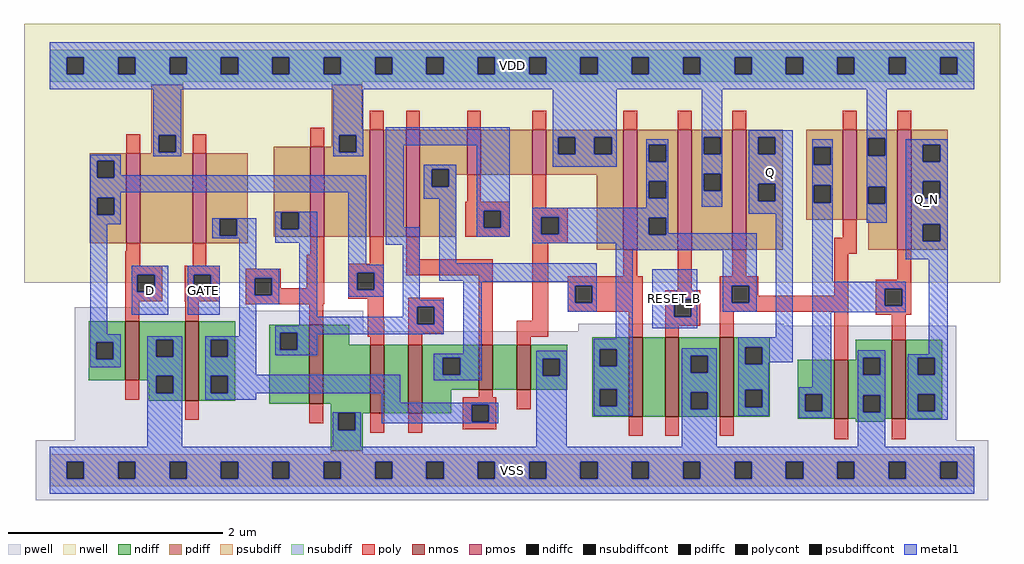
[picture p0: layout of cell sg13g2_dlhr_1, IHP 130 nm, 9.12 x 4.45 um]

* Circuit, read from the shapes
.subckt sg13g2_dlhr_1 Q_N RESET_B GATE VDD Q VSS D
XM1 VSS D n1 VSS sg13_lv_nmos w=0.55u l=0.13u
XM2 n2 GATE VSS VSS sg13_lv_nmos w=0.74u l=0.13u
XM3 VSS n2 n3 VSS sg13_lv_nmos w=0.74u l=0.13u
XM4 n4 n1 VSS VSS sg13_lv_nmos w=0.64u l=0.13u
XM5 n5 n3 n4 VSS sg13_lv_nmos w=0.64u l=0.13u
XM6 n6 n2 n5 VSS sg13_lv_nmos w=0.42u l=0.13u
XM7 VSS n7 n6 VSS sg13_lv_nmos w=0.42u l=0.13u
XM8 n8 n5 n7 VSS sg13_lv_nmos w=0.74u l=0.13u
XM9 VSS RESET_B n8 VSS sg13_lv_nmos w=0.74u l=0.13u
XM10 Q n7 VSS VSS sg13_lv_nmos w=0.74u l=0.13u
XM11 VSS n7 n9 VSS sg13_lv_nmos w=0.55u l=0.13u
XM12 Q_N n9 VSS VSS sg13_lv_nmos w=0.74u l=0.13u
XM13 VDD D n1 VDD sg13_lv_pmos w=0.84u l=0.13u
XM14 n2 GATE VDD VDD sg13_lv_pmos w=0.84u l=0.13u
XM15 VDD n2 n3 VDD sg13_lv_pmos w=0.84u l=0.13u
XM16 n10 n1 VDD VDD sg13_lv_pmos w=1u l=0.13u
XM17 n5 n2 n10 VDD sg13_lv_pmos w=1u l=0.13u
XM18 n11 n3 n5 VDD sg13_lv_pmos w=0.42u l=0.13u
XM19 VDD n7 n11 VDD sg13_lv_pmos w=0.42u l=0.13u
XM20 n7 n5 VDD VDD sg13_lv_pmos w=1.12u l=0.13u
XM21 VDD RESET_B n7 VDD sg13_lv_pmos w=1.12u l=0.13u
XM22 Q n7 VDD VDD sg13_lv_pmos w=1.12u l=0.13u
XM23 VDD n7 n9 VDD sg13_lv_pmos w=0.84u l=0.13u
XM24 Q_N n9 VDD VDD sg13_lv_pmos w=1.12u l=0.13u
.ends

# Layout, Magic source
magic
tech ihp-sg13g2
magscale 1 2
<< nwell >>
rect -48 350 1776 834
<< pwell >>
rect 47 298 373 304
rect 47 260 586 298
rect 988 270 1372 274
rect 988 260 1694 270
rect 47 56 1694 260
rect -26 -56 1754 56
<< nmos >>
rect 141 168 167 278
rect 253 130 279 278
rect 485 124 511 272
rect 599 106 625 234
rect 670 106 696 234
rect 802 150 828 234
rect 873 150 899 234
rect 1082 100 1108 248
rect 1150 100 1176 248
rect 1252 100 1278 248
rect 1466 96 1492 206
rect 1574 96 1600 244
<< pmos >>
rect 143 424 169 592
rect 267 424 293 592
rect 487 436 513 604
rect 598 436 624 636
rect 666 436 692 636
rect 780 552 806 636
rect 902 552 928 636
rect 1072 412 1098 636
rect 1174 412 1200 636
rect 1276 412 1302 636
rect 1482 468 1508 636
rect 1584 412 1610 636
<< ndiff >>
rect 73 239 141 278
rect 73 207 87 239
rect 119 207 141 239
rect 73 168 141 207
rect 167 244 253 278
rect 167 212 199 244
rect 231 212 253 244
rect 167 176 253 212
rect 167 168 199 176
rect 185 144 199 168
rect 231 144 253 176
rect 185 130 253 144
rect 279 244 347 278
rect 279 212 301 244
rect 333 212 347 244
rect 279 176 347 212
rect 279 144 301 176
rect 333 144 347 176
rect 279 130 347 144
rect 410 257 485 272
rect 410 225 431 257
rect 463 225 485 257
rect 410 124 485 225
rect 511 234 560 272
rect 511 124 599 234
rect 525 107 599 124
rect 525 75 539 107
rect 571 106 599 107
rect 625 106 670 234
rect 696 210 802 234
rect 696 178 735 210
rect 767 178 802 210
rect 696 150 802 178
rect 828 150 873 234
rect 899 208 967 234
rect 899 176 921 208
rect 953 176 967 208
rect 899 150 967 176
rect 1014 226 1082 248
rect 1014 194 1028 226
rect 1060 194 1082 226
rect 1014 151 1082 194
rect 696 106 750 150
rect 571 75 585 106
rect 525 36 585 75
rect 1014 119 1028 151
rect 1060 119 1082 151
rect 1014 100 1082 119
rect 1108 100 1150 248
rect 1176 214 1252 248
rect 1176 182 1198 214
rect 1230 182 1252 214
rect 1176 146 1252 182
rect 1176 114 1198 146
rect 1230 114 1252 146
rect 1176 100 1252 114
rect 1278 230 1346 248
rect 1278 198 1300 230
rect 1332 198 1346 230
rect 1506 210 1574 244
rect 1506 206 1520 210
rect 1278 150 1346 198
rect 1278 118 1300 150
rect 1332 118 1346 150
rect 1278 100 1346 118
rect 1398 142 1466 206
rect 1398 110 1412 142
rect 1444 110 1466 142
rect 1398 96 1466 110
rect 1492 178 1520 206
rect 1552 178 1574 210
rect 1492 140 1574 178
rect 1492 108 1520 140
rect 1552 108 1574 140
rect 1492 96 1574 108
rect 1600 210 1668 244
rect 1600 178 1622 210
rect 1654 178 1668 210
rect 1600 142 1668 178
rect 1600 110 1622 142
rect 1654 110 1668 142
rect 1600 96 1668 110
rect 1506 90 1560 96
<< pdiff >>
rect 190 626 250 720
rect 190 594 204 626
rect 236 594 250 626
rect 190 592 250 594
rect 527 636 584 720
rect 527 626 598 636
rect 527 604 541 626
rect 75 578 143 592
rect 75 546 89 578
rect 121 546 143 578
rect 75 509 143 546
rect 75 477 89 509
rect 121 477 143 509
rect 75 424 143 477
rect 169 424 267 592
rect 293 470 370 592
rect 293 438 318 470
rect 350 438 370 470
rect 293 424 370 438
rect 419 482 487 604
rect 419 450 433 482
rect 465 450 487 482
rect 419 436 487 450
rect 513 594 541 604
rect 573 594 598 626
rect 513 436 598 594
rect 624 436 666 636
rect 692 562 780 636
rect 692 530 714 562
rect 746 552 780 562
rect 806 552 902 636
rect 928 622 1072 636
rect 928 590 950 622
rect 982 590 1018 622
rect 1050 590 1072 622
rect 928 552 1072 590
rect 746 530 760 552
rect 692 436 760 530
rect 1022 412 1072 552
rect 1098 608 1174 636
rect 1098 576 1120 608
rect 1152 576 1174 608
rect 1098 540 1174 576
rect 1098 508 1120 540
rect 1152 508 1174 540
rect 1098 472 1174 508
rect 1098 440 1120 472
rect 1152 440 1174 472
rect 1098 412 1174 440
rect 1200 622 1276 636
rect 1200 590 1222 622
rect 1254 590 1276 622
rect 1200 554 1276 590
rect 1200 522 1222 554
rect 1254 522 1276 554
rect 1200 412 1276 522
rect 1302 622 1370 636
rect 1302 590 1324 622
rect 1356 590 1370 622
rect 1302 535 1370 590
rect 1302 503 1324 535
rect 1356 503 1370 535
rect 1302 412 1370 503
rect 1414 603 1482 636
rect 1414 571 1428 603
rect 1460 571 1482 603
rect 1414 532 1482 571
rect 1414 500 1428 532
rect 1460 500 1482 532
rect 1414 468 1482 500
rect 1508 620 1584 636
rect 1508 588 1530 620
rect 1562 588 1584 620
rect 1508 530 1584 588
rect 1508 498 1530 530
rect 1562 498 1584 530
rect 1508 468 1584 498
rect 1530 412 1584 468
rect 1610 608 1678 636
rect 1610 576 1632 608
rect 1664 576 1678 608
rect 1610 540 1678 576
rect 1610 508 1632 540
rect 1664 508 1678 540
rect 1610 460 1678 508
rect 1610 428 1632 460
rect 1664 428 1678 460
rect 1610 412 1678 428
<< ndiffc >>
rect 87 207 119 239
rect 199 212 231 244
rect 199 144 231 176
rect 301 212 333 244
rect 301 144 333 176
rect 431 225 463 257
rect 539 75 571 107
rect 735 178 767 210
rect 921 176 953 208
rect 1028 194 1060 226
rect 1028 119 1060 151
rect 1198 182 1230 214
rect 1198 114 1230 146
rect 1300 198 1332 230
rect 1300 118 1332 150
rect 1412 110 1444 142
rect 1520 178 1552 210
rect 1520 108 1552 140
rect 1622 178 1654 210
rect 1622 110 1654 142
<< pdiffc >>
rect 204 594 236 626
rect 89 546 121 578
rect 89 477 121 509
rect 318 438 350 470
rect 433 450 465 482
rect 541 594 573 626
rect 714 530 746 562
rect 950 590 982 622
rect 1018 590 1050 622
rect 1120 576 1152 608
rect 1120 508 1152 540
rect 1120 440 1152 472
rect 1222 590 1254 622
rect 1222 522 1254 554
rect 1324 590 1356 622
rect 1324 503 1356 535
rect 1428 571 1460 603
rect 1428 500 1460 532
rect 1530 588 1562 620
rect 1530 498 1562 530
rect 1632 576 1664 608
rect 1632 508 1664 540
rect 1632 428 1664 460
<< psubdiff >>
rect 525 30 585 36
rect 0 16 1728 30
rect 0 -16 32 16
rect 64 -16 128 16
rect 160 -16 224 16
rect 256 -16 320 16
rect 352 -16 416 16
rect 448 -16 512 16
rect 544 -16 608 16
rect 640 -16 704 16
rect 736 -16 800 16
rect 832 -16 896 16
rect 928 -16 992 16
rect 1024 -16 1088 16
rect 1120 -16 1184 16
rect 1216 -16 1280 16
rect 1312 -16 1376 16
rect 1408 -16 1472 16
rect 1504 -16 1568 16
rect 1600 -16 1664 16
rect 1696 -16 1728 16
rect 0 -30 1728 -16
<< nsubdiff >>
rect 0 772 1728 786
rect 0 740 32 772
rect 64 740 128 772
rect 160 740 224 772
rect 256 740 320 772
rect 352 740 416 772
rect 448 740 512 772
rect 544 740 608 772
rect 640 740 704 772
rect 736 740 800 772
rect 832 740 896 772
rect 928 740 992 772
rect 1024 740 1088 772
rect 1120 740 1184 772
rect 1216 740 1280 772
rect 1312 740 1376 772
rect 1408 740 1472 772
rect 1504 740 1568 772
rect 1600 740 1664 772
rect 1696 740 1728 772
rect 0 726 1728 740
rect 190 720 250 726
rect 527 720 584 726
<< psubdiffcont >>
rect 32 -16 64 16
rect 128 -16 160 16
rect 224 -16 256 16
rect 320 -16 352 16
rect 416 -16 448 16
rect 512 -16 544 16
rect 608 -16 640 16
rect 704 -16 736 16
rect 800 -16 832 16
rect 896 -16 928 16
rect 992 -16 1024 16
rect 1088 -16 1120 16
rect 1184 -16 1216 16
rect 1280 -16 1312 16
rect 1376 -16 1408 16
rect 1472 -16 1504 16
rect 1568 -16 1600 16
rect 1664 -16 1696 16
<< nsubdiffcont >>
rect 32 740 64 772
rect 128 740 160 772
rect 224 740 256 772
rect 320 740 352 772
rect 416 740 448 772
rect 512 740 544 772
rect 608 740 640 772
rect 704 740 736 772
rect 800 740 832 772
rect 896 740 928 772
rect 992 740 1024 772
rect 1088 740 1120 772
rect 1184 740 1216 772
rect 1280 740 1312 772
rect 1376 740 1408 772
rect 1472 740 1504 772
rect 1568 740 1600 772
rect 1664 740 1696 772
<< poly >>
rect 143 592 169 628
rect 267 592 293 628
rect 487 604 513 640
rect 598 636 624 672
rect 666 636 692 672
rect 780 636 806 672
rect 902 636 928 672
rect 1072 636 1098 672
rect 1174 636 1200 672
rect 1276 636 1302 672
rect 1482 636 1508 672
rect 1584 636 1610 672
rect 780 502 806 552
rect 777 485 860 502
rect 777 453 811 485
rect 843 453 860 485
rect 777 436 860 453
rect 902 490 928 552
rect 902 473 968 490
rect 902 441 919 473
rect 951 441 968 473
rect 143 409 169 424
rect 141 382 169 409
rect 267 382 293 424
rect 487 403 513 436
rect 141 365 210 382
rect 141 333 164 365
rect 196 333 210 365
rect 141 316 210 333
rect 252 365 318 382
rect 252 333 269 365
rect 301 333 318 365
rect 252 316 318 333
rect 366 359 432 376
rect 366 327 383 359
rect 415 340 432 359
rect 480 340 513 403
rect 598 386 624 436
rect 415 327 513 340
rect 141 278 167 316
rect 253 278 279 316
rect 366 310 513 327
rect 558 369 624 386
rect 558 337 575 369
rect 607 337 624 369
rect 666 394 692 436
rect 902 424 968 441
rect 666 364 828 394
rect 558 320 624 337
rect 141 132 167 168
rect 485 272 511 310
rect 594 279 624 320
rect 670 305 736 322
rect 253 94 279 130
rect 594 249 625 279
rect 599 234 625 249
rect 670 273 687 305
rect 719 273 736 305
rect 670 256 736 273
rect 670 234 696 256
rect 802 234 828 364
rect 902 279 932 424
rect 1482 434 1508 468
rect 1072 362 1098 412
rect 968 345 1108 362
rect 968 313 982 345
rect 1014 313 1108 345
rect 1174 336 1200 412
rect 1276 362 1302 412
rect 1466 404 1508 434
rect 1252 345 1324 362
rect 968 296 1108 313
rect 873 249 932 279
rect 873 234 899 249
rect 1082 248 1108 296
rect 1150 319 1216 336
rect 1150 287 1167 319
rect 1199 287 1216 319
rect 1150 270 1216 287
rect 1252 313 1275 345
rect 1307 326 1324 345
rect 1466 326 1492 404
rect 1584 356 1610 412
rect 1307 313 1492 326
rect 1252 296 1492 313
rect 1150 248 1176 270
rect 1252 248 1278 296
rect 485 88 511 124
rect 802 136 828 150
rect 772 122 835 136
rect 599 70 625 106
rect 670 70 696 106
rect 772 90 789 122
rect 821 90 835 122
rect 873 114 899 150
rect 1466 206 1492 296
rect 1544 339 1610 356
rect 1544 307 1561 339
rect 1593 307 1610 339
rect 1544 290 1610 307
rect 1574 244 1600 290
rect 772 76 835 90
rect 1082 64 1108 100
rect 1150 64 1176 100
rect 1252 64 1278 100
rect 1466 58 1492 96
rect 1574 58 1600 96
<< polycont >>
rect 811 453 843 485
rect 919 441 951 473
rect 164 333 196 365
rect 269 333 301 365
rect 383 327 415 359
rect 575 337 607 369
rect 687 273 719 305
rect 982 313 1014 345
rect 1167 287 1199 319
rect 1275 313 1307 345
rect 789 90 821 122
rect 1561 307 1593 339
<< metal1 >>
rect 0 772 1728 800
rect 0 740 32 772
rect 64 740 128 772
rect 160 740 224 772
rect 256 740 320 772
rect 352 740 416 772
rect 448 740 512 772
rect 544 740 608 772
rect 640 740 704 772
rect 736 740 800 772
rect 832 740 896 772
rect 928 740 992 772
rect 1024 740 1088 772
rect 1120 740 1184 772
rect 1216 740 1280 772
rect 1312 740 1376 772
rect 1408 740 1472 772
rect 1504 740 1568 772
rect 1600 740 1664 772
rect 1696 740 1728 772
rect 0 712 1728 740
rect 194 626 246 712
rect 194 594 204 626
rect 236 594 246 626
rect 76 578 133 589
rect 194 587 246 594
rect 530 626 586 712
rect 530 594 541 626
rect 573 594 586 626
rect 530 587 586 594
rect 628 607 860 641
rect 76 546 89 578
rect 121 551 133 578
rect 121 546 592 551
rect 76 519 592 546
rect 76 509 133 519
rect 76 477 89 509
rect 121 477 133 509
rect 76 460 133 477
rect 422 482 500 483
rect 304 470 386 471
rect 76 254 108 460
rect 304 438 318 470
rect 350 438 386 470
rect 304 433 386 438
rect 153 365 222 382
rect 153 333 164 365
rect 196 333 222 365
rect 153 290 222 333
rect 258 365 318 382
rect 258 333 269 365
rect 301 333 318 365
rect 258 290 318 333
rect 354 376 386 433
rect 422 450 433 482
rect 465 450 500 482
rect 422 425 500 450
rect 354 359 429 376
rect 354 327 383 359
rect 415 327 429 359
rect 354 310 429 327
rect 76 239 133 254
rect 354 250 386 310
rect 466 287 500 425
rect 558 384 592 519
rect 628 454 662 607
rect 699 562 760 571
rect 699 530 714 562
rect 746 530 760 562
rect 699 507 760 530
rect 628 421 692 454
rect 558 369 624 384
rect 558 337 575 369
rect 607 337 624 369
rect 558 324 624 337
rect 660 318 692 421
rect 728 387 760 507
rect 798 485 860 607
rect 940 622 1060 712
rect 940 590 950 622
rect 982 590 1018 622
rect 1050 590 1060 622
rect 1219 622 1257 712
rect 940 567 1060 590
rect 1115 608 1156 618
rect 1115 576 1120 608
rect 1152 576 1156 608
rect 1115 540 1156 576
rect 1115 508 1120 540
rect 1152 508 1156 540
rect 1115 490 1156 508
rect 1219 590 1222 622
rect 1254 590 1257 622
rect 1219 554 1257 590
rect 1219 522 1222 554
rect 1254 522 1257 554
rect 1219 492 1257 522
rect 1306 622 1389 635
rect 1306 590 1324 622
rect 1356 590 1389 622
rect 1527 620 1564 712
rect 1306 535 1389 590
rect 1306 503 1324 535
rect 1356 503 1389 535
rect 798 453 811 485
rect 843 453 860 485
rect 798 436 860 453
rect 902 473 1156 490
rect 1306 479 1389 503
rect 902 441 919 473
rect 951 472 1156 473
rect 951 441 1120 472
rect 902 440 1120 441
rect 1152 443 1156 472
rect 1152 440 1321 443
rect 902 424 1321 440
rect 1058 411 1321 424
rect 728 354 1022 387
rect 773 352 1022 354
rect 660 305 736 318
rect 660 287 687 305
rect 466 273 687 287
rect 719 273 736 305
rect 466 270 736 273
rect 76 207 87 239
rect 119 207 133 239
rect 76 192 133 207
rect 182 244 248 250
rect 182 212 199 244
rect 231 212 248 244
rect 182 176 248 212
rect 182 144 199 176
rect 231 144 248 176
rect 182 44 248 144
rect 291 244 386 250
rect 291 212 301 244
rect 333 212 386 244
rect 422 257 736 270
rect 422 225 431 257
rect 463 254 736 257
rect 463 225 500 254
rect 422 215 500 225
rect 773 218 807 352
rect 968 345 1022 352
rect 968 313 982 345
rect 1014 313 1022 345
rect 968 296 1022 313
rect 1058 246 1090 411
rect 1126 319 1210 375
rect 1126 287 1167 319
rect 1199 287 1210 319
rect 1258 345 1321 411
rect 1258 313 1275 345
rect 1307 313 1321 345
rect 1258 296 1321 313
rect 1126 265 1210 287
rect 1357 248 1389 479
rect 1017 226 1090 246
rect 1287 230 1389 248
rect 291 178 386 212
rect 718 210 807 218
rect 718 178 735 210
rect 767 178 807 210
rect 291 176 655 178
rect 291 144 301 176
rect 333 144 655 176
rect 718 168 807 178
rect 909 208 966 223
rect 909 176 921 208
rect 953 176 966 208
rect 291 132 386 144
rect 621 126 655 144
rect 621 122 838 126
rect 529 107 581 108
rect 529 75 539 107
rect 571 75 581 107
rect 621 90 789 122
rect 821 90 838 122
rect 621 88 838 90
rect 529 44 581 75
rect 909 44 966 176
rect 1017 194 1028 226
rect 1060 194 1090 226
rect 1017 151 1090 194
rect 1017 119 1028 151
rect 1060 119 1090 151
rect 1017 102 1090 119
rect 1181 214 1247 228
rect 1181 182 1198 214
rect 1230 182 1247 214
rect 1181 146 1247 182
rect 1181 114 1198 146
rect 1230 114 1247 146
rect 1181 44 1247 114
rect 1287 198 1300 230
rect 1332 202 1389 230
rect 1425 603 1463 618
rect 1425 571 1428 603
rect 1460 571 1463 603
rect 1425 532 1463 571
rect 1425 500 1428 532
rect 1460 500 1463 532
rect 1425 352 1463 500
rect 1527 588 1530 620
rect 1562 588 1564 620
rect 1527 530 1564 588
rect 1527 498 1530 530
rect 1562 498 1564 530
rect 1527 462 1564 498
rect 1600 608 1678 618
rect 1600 576 1632 608
rect 1664 576 1678 608
rect 1600 540 1678 576
rect 1600 508 1632 540
rect 1664 508 1678 540
rect 1600 460 1678 508
rect 1600 428 1632 460
rect 1664 428 1678 460
rect 1600 394 1678 428
rect 1425 339 1600 352
rect 1425 307 1561 339
rect 1593 307 1600 339
rect 1425 295 1600 307
rect 1332 198 1344 202
rect 1287 150 1344 198
rect 1425 155 1461 295
rect 1287 118 1300 150
rect 1332 118 1344 150
rect 1287 102 1344 118
rect 1400 142 1461 155
rect 1400 110 1412 142
rect 1444 110 1461 142
rect 1400 98 1461 110
rect 1510 210 1562 224
rect 1643 217 1678 394
rect 1510 178 1520 210
rect 1552 178 1562 210
rect 1510 140 1562 178
rect 1510 108 1520 140
rect 1552 108 1562 140
rect 1510 44 1562 108
rect 1604 210 1678 217
rect 1604 178 1622 210
rect 1654 178 1678 210
rect 1604 142 1678 178
rect 1604 110 1622 142
rect 1654 110 1678 142
rect 1604 94 1678 110
rect 0 16 1728 44
rect 0 -16 32 16
rect 64 -16 128 16
rect 160 -16 224 16
rect 256 -16 320 16
rect 352 -16 416 16
rect 448 -16 512 16
rect 544 -16 608 16
rect 640 -16 704 16
rect 736 -16 800 16
rect 832 -16 896 16
rect 928 -16 992 16
rect 1024 -16 1088 16
rect 1120 -16 1184 16
rect 1216 -16 1280 16
rect 1312 -16 1376 16
rect 1408 -16 1472 16
rect 1504 -16 1568 16
rect 1600 -16 1664 16
rect 1696 -16 1728 16
rect 0 -44 1728 -16
<< labels >>
flabel metal1 s 1600 394 1678 618 0 FreeSans 400 0 0 0 Q_N
port 2 nsew
flabel metal1 s 1126 265 1210 375 0 FreeSans 400 0 0 0 RESET_B
port 3 nsew
flabel metal1 s 258 290 318 382 0 FreeSans 400 0 0 0 GATE
port 4 nsew
flabel metal1 s 0 712 1728 800 0 FreeSans 400 0 0 0 VDD
port 5 nsew
flabel metal1 s 1306 479 1389 635 0 FreeSans 400 0 0 0 Q
port 6 nsew
flabel metal1 s 0 -44 1728 44 0 FreeSans 400 0 0 0 VSS
port 7 nsew
flabel metal1 s 153 290 222 382 0 FreeSans 400 0 0 0 D
port 8 nsew
<< properties >>
string FIXED_BBOX 0 0 1728 756
<< end >>
